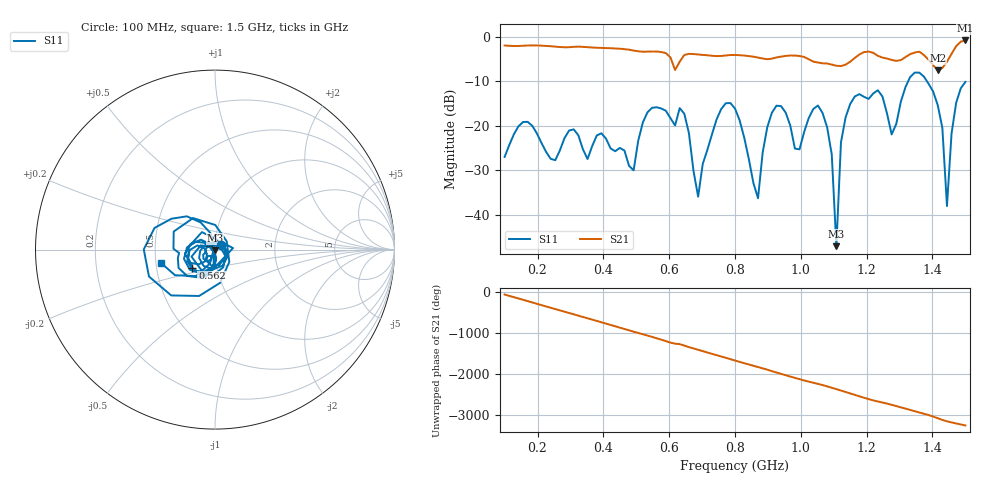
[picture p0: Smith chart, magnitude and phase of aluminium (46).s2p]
! NanoVNA-App
! Date: 2025-09-25 14:55:38
! Start: 100MHz Stop: 1,5GHz Points: 101
! S-Parameter data: F S11 S21 S12 S22
# Hz S RI R 50
!  Frequency  S11_Real  S11_Imag  S21_Real  S21_Imag  S12_Real  S12_Imag  S22_Real  S22_Imag
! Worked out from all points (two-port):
!   101 points, 100 MHz to 1.5 GHz, reference 50 ohm
!   highest |S21| = -0.78 dB at 1.5 GHz (marker M1); lowest = -7.5 dB at 1.416 GHz (marker M2)
!   |S21| within 3 dB of the highest: start of sweep to 592.2 MHz; 1.182 GHz to 1.224 GHz (42.42 MHz wide, 3.53 % of centre) (the widest 2 of 4)
!   lowest |S11| = -47.1 dB at 1.108 GHz (marker M3), VSWR 1.01, Z = 50 - j0.441 ohm
!   |S11| at or under -10 dB: start of sweep to 1.326 GHz; 1.383 GHz to end of sweep
!   S12 and S22 are empty: the file has one direction only
!   S11 on the Smith chart (normalised r, x): 100 MHz: 1.07, +0.06; 562 MHz: 0.76, -0.16; 1.5 GHz: 0.53, -0.08
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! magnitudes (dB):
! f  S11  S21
! 100 MHz  -27.0  -1.9
! 338 MHz  -25.3  -2.2
! 492 MHz  -30.0  -3.1
! 562 MHz  -15.8  -3.3
! 576 MHz  -16.1  -3.4
! 646 MHz  -17.3  -4.0
! 688 MHz  -36.0  -3.9
! 800 MHz  -16.1  -4.1
! 870 MHz  -36.3  -4.6
! 912 MHz  -17.1  -4.9
! 996 MHz  -25.3  -4.3
! 1.038 GHz  -16.2  -5.6
! 1.094 GHz  -26.5  -6.2
! 1.108 GHz  -47.1  -6.5
! 1.122 GHz  -23.7  -6.5
! 1.15 GHz  -15.1  -5.6
! 1.276 GHz  -21.9  -5.2
! 1.346 GHz  -8.0  -3.5
! 1.416 GHz  -15.3  -7.5
! 1.444 GHz  -38.1  -5.6
! 1.458 GHz  -21.7  -3.8
! 1.5 GHz  -10.1  -0.8
